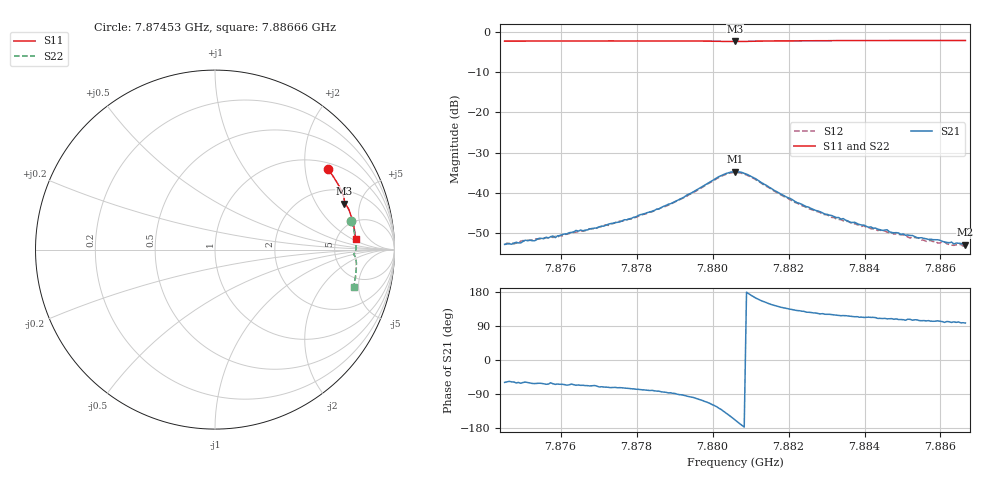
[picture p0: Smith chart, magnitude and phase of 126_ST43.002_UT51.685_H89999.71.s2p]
#  HZ  S  DB  R  50.00
! Rohde & Schwarz Vector Network Analyzer
! Rohde-Schwarz,ZNB20-2Port,1311601062101988,3.16
! Created: UTC 1/12/2023, 6:38:38 PM
! freq[Hz]  db:S11  ang:S11  db:S21  ang:S21  db:S12  ang:S12  db:S22  ang:S22
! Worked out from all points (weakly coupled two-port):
!   201 points, 7.87453 GHz to 7.88666 GHz, reference 50 ohm
!   highest |S21| = -34.75 dB at 7.88059 GHz (marker M1); lowest = -52.9 dB at 7.88666 GHz (marker M2)
!   lowest |S11| = -2.3 dB at 7.88059 GHz (marker M3), VSWR 7.47, Z = 144 + j178 ohm
!   |S11| at or under -10 dB: nowhere
!   |S22| runs from -2.2 to -1.9 dB; largest |S21 - S12| = 0.0012
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7.874525e9  -2.25 35.7  -52.82 -59.2  -52.88 -59.0  -2.20 11.7
7.87495e9  -2.24 34.5  -52.46 -61.3  -52.00 -62.4  -2.18 10.7
7.875071e9  -2.24 34.2  -51.76 -58.2  -51.96 -60.8  -2.17 10.4
7.875314e9  -2.23 33.5  -51.91 -62.3  -51.53 -63.2  -2.17 9.8
7.875799e9  -2.23 32.2  -50.73 -62.8  -51.10 -65.2  -2.15 8.7
7.87586e9  -2.23 32.0  -51.13 -64.3  -50.80 -65.7  -2.15 8.5
7.876406e9  -2.21 30.5  -49.34 -66.7  -49.76 -69.5  -2.14 7.2
7.876588e9  -2.22 30.1  -49.44 -66.7  -49.51 -71.0  -2.13 6.8
7.877861e9  -2.20 26.6  -46.36 -75.9  -46.50 -78.3  -2.10 3.8
7.878589e9  -2.20 24.5  -44.00 -82.3  -43.97 -86.8  -2.09 2.1
7.879317e9  -2.21 22.4  -40.58 -94.8  -40.86 -98.2  -2.10 0.3
7.880166e9  -2.30 20.2  -35.96 -127.3  -36.16 -130.7  -2.19 -1.6
7.880591e9  -2.34 19.6  -34.75 -158.1  -34.92 -161.4  -2.24 -2.0
7.880894e9  -2.31 19.3  -35.33 178.9  -35.55 175.4  -2.22 -2.2
7.881925e9  -2.18 16.7  -40.94 136.4  -41.19 133.2  -2.06 -4.3
7.882653e9  -2.15 14.7  -44.11 124.3  -44.31 122.0  -2.02 -6.0
7.883623e9  -2.13 12.1  -47.31 115.8  -47.38 112.6  -2.00 -8.3
7.884654e9  -2.11 9.3  -49.68 108.7  -49.98 104.6  -1.97 -10.6
7.885625e9  -2.10 6.8  -51.42 103.2  -52.07 99.3  -1.96 -12.7
7.88611e9  -2.09 5.5  -52.22 99.3  -52.25 99.0  -1.96 -13.7
7.886292e9  -2.09 5.1  -52.25 99.0  -53.00 97.4  -1.95 -14.1
7.886656e9  -2.09 4.1  -52.90 97.6  -53.26 96.2  -1.95 -14.9
